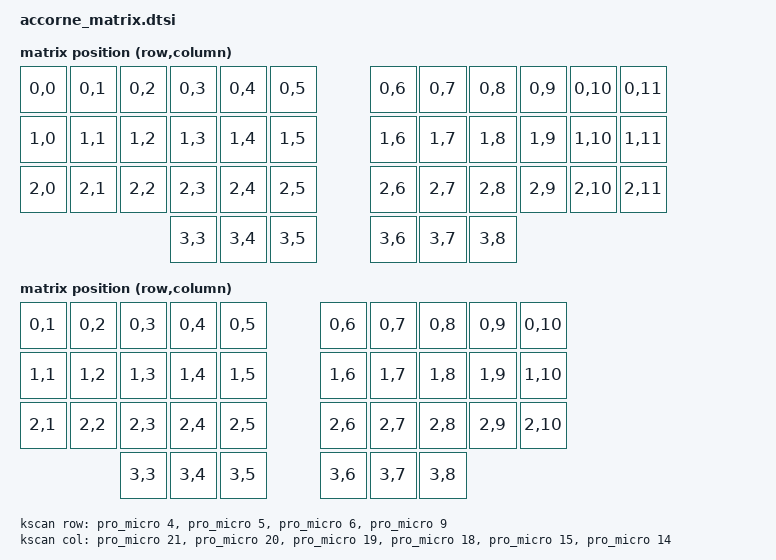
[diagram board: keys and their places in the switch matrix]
#include <dt-bindings/zmk/matrix_transform.h>
#include <dt-bindings/zmk/rgb.h>
#include <layouts/foostan/corne/5column.dtsi>
#include <layouts/foostan/corne/6column.dtsi>

&foostan_corne_6col_layout {
    transform = <&six_col_transform>;
};

&foostan_corne_5col_layout {
    transform = <&five_col_transform>;
};

/ {
    chosen {
        zmk,kscan = &kscan;
        zmk,physical-layout = &foostan_corne_6col_layout;
        zmk,underglow = &led_strip;
    };

    kscan: kscan {
        compatible = "zmk,kscan-gpio-matrix";
        wakeup-source;

        diode-direction = "col2row";

        row-gpios
        = <&pro_micro 4 (GPIO_ACTIVE_HIGH | GPIO_PULL_DOWN)>
        , <&pro_micro 5 (GPIO_ACTIVE_HIGH | GPIO_PULL_DOWN)>
        , <&pro_micro 6 (GPIO_ACTIVE_HIGH | GPIO_PULL_DOWN)>
        , <&pro_micro 9 (GPIO_ACTIVE_HIGH | GPIO_PULL_DOWN)>
            ;

        // NOTE: Below are LHS columns, RHS columns are different and re-defined in their respective .overlay files
        col-gpios
        = <&pro_micro 21 GPIO_ACTIVE_HIGH>
        , <&pro_micro 20 GPIO_ACTIVE_HIGH>
        , <&pro_micro 19 GPIO_ACTIVE_HIGH>
        , <&pro_micro 18 GPIO_ACTIVE_HIGH>
        , <&pro_micro 15 GPIO_ACTIVE_HIGH>
        , <&pro_micro 14 GPIO_ACTIVE_HIGH>
            ;
    };

    six_col_transform: six_col_transform {
        compatible = "zmk,matrix-transform";
        columns = <12>;
        rows = <4>;
        map = <
            RC(0,0) RC(0,1) RC(0,2) RC(0,3) RC(0,4) RC(0,5)   RC(0,6) RC(0,7) RC(0,8) RC(0,9) RC(0,10) RC(0,11)
            RC(1,0) RC(1,1) RC(1,2) RC(1,3) RC(1,4) RC(1,5)   RC(1,6) RC(1,7) RC(1,8) RC(1,9) RC(1,10) RC(1,11)
            RC(2,0) RC(2,1) RC(2,2) RC(2,3) RC(2,4) RC(2,5)   RC(2,6) RC(2,7) RC(2,8) RC(2,9) RC(2,10) RC(2,11)
                                    RC(3,3) RC(3,4) RC(3,5)   RC(3,6) RC(3,7) RC(3,8)
        >;
    };

    five_col_transform: five_col_transform {
        compatible = "zmk,matrix-transform";
        columns = <10>;
        rows = <4>;
        map = <
            RC(0,1) RC(0,2) RC(0,3) RC(0,4) RC(0,5)   RC(0,6) RC(0,7) RC(0,8) RC(0,9) RC(0,10)
            RC(1,1) RC(1,2) RC(1,3) RC(1,4) RC(1,5)   RC(1,6) RC(1,7) RC(1,8) RC(1,9) RC(1,10)
            RC(2,1) RC(2,2) RC(2,3) RC(2,4) RC(2,5)   RC(2,6) RC(2,7) RC(2,8) RC(2,9) RC(2,10)
                            RC(3,3) RC(3,4) RC(3,5)   RC(3,6) RC(3,7) RC(3,8)
        >;
    };

    left_encoder: left_encoder {
        compatible = "alps,ec11";
        steps = <80>;
        status = "disabled";
    };

    right_encoder: right_encoder {
        compatible = "alps,ec11";
        steps = <80>;
        status = "disabled";
    };

    sensors: sensors {
        compatible = "zmk,keymap-sensors";
        sensors = <&left_encoder &right_encoder>;
        triggers-per-rotation = <20>;
    };
};

&pinctrl {
    spi3_default: spi3_default {
        group1 {
            psels = <NRF_PSEL(SPIM_MOSI, 0, 6)>;
        };
    };

    spi3_sleep: spi3_sleep {
        group1 {
            psels = <NRF_PSEL(SPIM_MOSI, 0, 6)>;
            low-power-enable;
        };
    };
};

&spi3 {
    compatible = "nordic,nrf-spim";
    status = "okay";

    pinctrl-0 = <&spi3_default>;
    pinctrl-1 = <&spi3_sleep>;
    pinctrl-names = "default", "sleep";

    led_strip: ws2812@0 {
        compatible = "worldsemi,ws2812-spi";

        /* SPI */
        reg = <0>; /* ignored, but necessary for SPI bindings */
        spi-max-frequency = <4000000>;

        /* WS2812 */
        chain-length = <10>; /* arbitrary; change at will */
        spi-one-frame = <0x70>;
        spi-zero-frame = <0x40>;

        color-mapping = <LED_COLOR_ID_GREEN LED_COLOR_ID_RED LED_COLOR_ID_BLUE>;
    };
};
